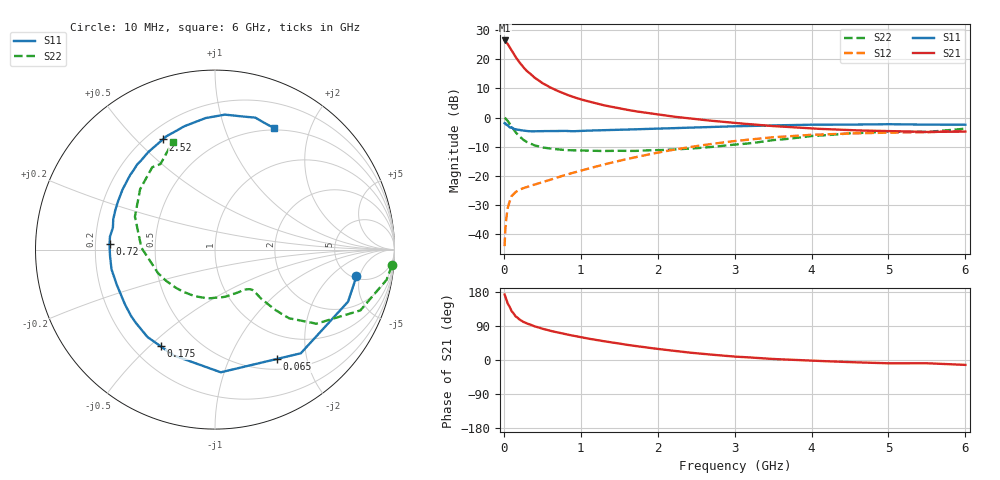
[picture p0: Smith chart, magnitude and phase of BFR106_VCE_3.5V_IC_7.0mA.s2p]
! Infineon Technologies  Discrete & RF Semiconductors
! BFR106
! VCE =  3.5 V,  IC =  7.0 mA
! Common Emitter S-Parameters:  Nov 2015
# GHz  S  MA  R  50
!  f  S11  S21  S12  S22
! GHz  MAG  ANG  MAG  ANG  MAG  ANG  MAG  ANG
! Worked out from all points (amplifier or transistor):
!   210 points, 10 MHz to 6 GHz, reference 50 ohm
!   highest |S21| = 26.5 dB at 10 MHz (marker M1)
!   |S21| within 3 dB of that: start of sweep to 91.4 MHz
!   unconditionally stable (mu >= 1): 559.1 MHz to 2.081 GHz; 4.896 GHz to end of sweep
!   at 185 MHz: K = 0.46, MSG = 22.3 dB, |S12| = -25.0 dB
!   at 1.52 GHz: K = 1.10, MAG = 7.0 dB, |S12| = -14.7 dB
!   at 6 GHz: K = 1.02, MAG = -0.9 dB, |S12| = -4.6 dB
!   S11 on the Smith chart (normalised r, x): 10 MHz: 5.32, -4.44; 65 MHz: 0.64, -1.52; 175 MHz: 0.31, -0.54; 720 MHz: 0.26, +0.03; 2.52 GHz: 0.26, +0.60; 6 GHz: 0.48, +1.49
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0.01  0.8021 -10.7  21.04 172.7  0.0062 86.3  0.9895 -5.1
0.02  0.796 -21.4  20.58 167.0  0.0124 80.7  0.9708 -10.0
0.05  0.7498 -50.4  18.36 149.2  0.0279 65.6  0.8781 -22.7
0.065  0.7 -60.5  16.96 144.2  0.0327 60.1  0.8201 -26.1
0.1  0.6844 -87.3  14.36 129.3  0.0446 52.0  0.6992 -36.2
0.15  0.6329 -111.4  11.08 115.7  0.0524 44.9  0.5634 -42.8
0.175  0.6178 -119.4  9.996 112.0  0.055 43.7  0.5213 -43.8
0.2  0.6154 -127.7  8.96 107.4  0.0576 42.6  0.4794 -44.9
0.24  0.6008 -137.3  7.693 102.3  0.0605 41.8  0.4294 -45.8
0.3  0.5875 -148.5  6.278 96.2  0.0643 42.4  0.3803 -46.7
0.4  0.5814 -160.7  4.834 88.8  0.0709 44.6  0.3326 -46.7
0.5  0.5869 -169.2  3.911 82.6  0.0774 47.6  0.3073 -47.1
0.6  0.5859 -176.5  3.306 77.2  0.0854 50.5  0.2935 -48.7
0.72  0.5882 176.7  2.793 71.6  0.0959 53.3  0.2826 -51.5
1.02  0.5923 162.5  2.02 59.5  0.1245 58.1  0.2721 -60.0
1.4  0.6129 148.1  1.525 46.6  0.1681 60.4  0.2683 -74.9
2.02  0.6462 129.2  1.12 28.9  0.2524 57.3  0.2762 -104.9
2.52  0.6791 115.3  0.933 17.5  0.3259 51.2  0.2993 -132.1
3.1  0.7117 102.0  0.788 7.9  0.4071 41.6  0.3514 -163.0
4.1  0.7536 84.4  0.64 -2.5  0.5102 23.4  0.4898 154.0
5.1  0.7656 72.0  0.58 -8.7  0.5529 8.0  0.5743 126.4
6  0.7533 64.0  0.575 -12.9  0.5896 -2.8  0.6454 111.4
